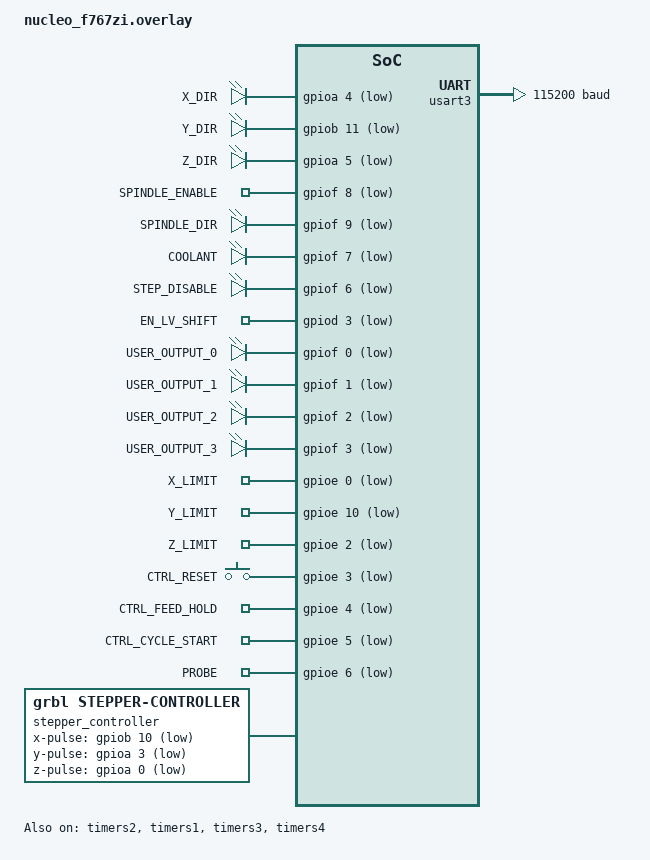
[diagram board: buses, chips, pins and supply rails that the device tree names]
/ {
    aliases {
        x-dir = &x_dir_node;
        y-dir = &y_dir_node;
        z-dir = &z_dir_node;

        spindle-enable = &spindle_enable;
        spindle-dir = &spindle_dir;
        coolant = &coolant;
        step-disable = &step_disable;
        en-lv-shift = &en_lv_shift;

        user-out-0 = &user_out_0;
        user-out-1 = &user_out_1;
        user-out-2 = &user_out_2;
        user-out-3 = &user_out_3;

        x-limit = &x_limit;
        y-limit = &y_limit;
        z-limit = &z_limit;

        ctrl-reset = &ctrl_reset;
        ctrl-feed-hold = &ctrl_feed_hold;
        ctrl-cycle-start = &ctrl_cycle_start;
        probe = &probe;

        encoder-x = &qdec0;
        encoder-y = &qdec1;
        encoder-z = &qdec2;
    };

    chosen {
        zephyr,code-partition = &slot0_partition;
        zephyr,settings-partition = &storage_partition;
    };

    outputs {
        compatible = "gpio-leds";

        x_dir_node: x_dir_node {
            gpios = <&gpioa 4 (GPIO_ACTIVE_LOW | GPIO_OPEN_DRAIN)>;
            label = "X_DIR";
        };
        y_dir_node: y_dir_node {
            gpios = <&gpiob 11 (GPIO_ACTIVE_LOW | GPIO_OPEN_DRAIN)>;
            label = "Y_DIR";
        };
        z_dir_node: z_dir_node {
            gpios = <&gpioa 5 (GPIO_ACTIVE_LOW | GPIO_OPEN_DRAIN)>;
            label = "Z_DIR";
        };

        spindle_enable: spindle_enable {
            gpios = <&gpiof 8 (GPIO_ACTIVE_LOW | GPIO_OPEN_DRAIN)>;
            label = "SPINDLE_ENABLE";
        };
        spindle_dir: spindle_dir {
            gpios = <&gpiof 9 (GPIO_ACTIVE_LOW | GPIO_OPEN_DRAIN)>;
            label = "SPINDLE_DIR";
        };
        coolant: coolant {
            gpios = <&gpiof 7 (GPIO_ACTIVE_LOW | GPIO_OPEN_DRAIN)>;
            label = "COOLANT";
        };
        step_disable: step_disable {
            gpios = <&gpiof 6 (GPIO_ACTIVE_LOW | GPIO_OPEN_DRAIN)>;
            label = "STEP_DISABLE";
        };
        en_lv_shift: en_lv_shift {
            gpios = <&gpiod 3 GPIO_ACTIVE_LOW>;
            label = "EN_LV_SHIFT";
        };
        user_out_0: user_out_0 {
            gpios = <&gpiof 0 (GPIO_ACTIVE_LOW | GPIO_OPEN_DRAIN)>;
            label = "USER_OUTPUT_0";
        };
        user_out_1: user_out_1 {
            gpios = <&gpiof 1 (GPIO_ACTIVE_LOW | GPIO_OPEN_DRAIN)>;
            label = "USER_OUTPUT_1";
        };
        user_out_2: user_out_2 {
            gpios = <&gpiof 2 (GPIO_ACTIVE_LOW | GPIO_OPEN_DRAIN)>;
            label = "USER_OUTPUT_2";
        };
        user_out_3: user_out_3 {
            gpios = <&gpiof 3 (GPIO_ACTIVE_LOW | GPIO_OPEN_DRAIN)>;
            label = "USER_OUTPUT_3";
        };
    };

    inputs {
        compatible = "gpio-keys";

        x_limit: x_limit {
            gpios = <&gpioe 0 (GPIO_PULL_UP | GPIO_ACTIVE_LOW)>;
            label = "X_LIMIT";
        };
        y_limit: y_limit {
            gpios = <&gpioe 10 (GPIO_PULL_UP | GPIO_ACTIVE_LOW)>;
            label = "Y_LIMIT";
        };
        z_limit: z_limit {
            gpios = <&gpioe 2 (GPIO_PULL_UP | GPIO_ACTIVE_LOW)>;
            label = "Z_LIMIT";
        };
        ctrl_reset: ctrl_reset {
            gpios = <&gpioe 3 (GPIO_PULL_UP | GPIO_ACTIVE_LOW)>;
            label = "CTRL_RESET";
        };
        ctrl_feed_hold: ctrl_feed_hold {
            gpios = <&gpioe 4 (GPIO_PULL_UP | GPIO_ACTIVE_LOW)>;
            label = "CTRL_FEED_HOLD";
        };
        ctrl_cycle_start: ctrl_cycle_start {
            gpios = <&gpioe 5 (GPIO_PULL_UP | GPIO_ACTIVE_LOW)>;
            label = "CTRL_CYCLE_START";
        };
        probe: probe {
            gpios = <&gpioe 6 (GPIO_PULL_UP | GPIO_ACTIVE_LOW)>;
            label = "PROBE";
        };
    };
};

&usart3 {
    status = "okay";
    current-speed = <115200>;
};

&flash0 {
    partitions {
        compatible = "fixed-partitions";
        #address-cells = <1>;
        #size-cells = <1>;
        /delete-node/ partition@10000;
        /delete-node/ partition@20000;
        /delete-node/ partition@40000;
        
        slot0_partition: partition@c000 {
            label = "image-0";
            reg = <0x00000000 0x00100000>;
        };

        /*
         * The flash starting at 0x000f8000 and ending at
         * 0x000fffff is reserved for use by the application.
         */

        /*
         * Storage partition will be used by FCB/LittleFS/NVS
         * if enabled.
         */
        storage_partition: partition@100000 {
            label = "storage";
            reg = <0x000100000 0x00010000>;
        };
    };
};

&timers2 {
    status = "okay";
};

&adc1 {
    status = "disabled";
};

/ {
    stepper_controller: stepper_controller {
        compatible = "grbl,stepper-controller";
        status = "okay";

        timer = <&timers2>;

        x-pulse-gpios = <&gpiob 10 (GPIO_ACTIVE_LOW | GPIO_OPEN_DRAIN)>;
        y-pulse-gpios = <&gpioa 3 (GPIO_ACTIVE_LOW | GPIO_OPEN_DRAIN)>;
        z-pulse-gpios = <&gpioa 0 (GPIO_ACTIVE_LOW | GPIO_OPEN_DRAIN)>;

    };
};

&timers1 {
    status = "okay";
    st,prescaler = <0>;
    qdec0: qdec {
        compatible = "st,stm32-qdec";
        status = "okay";
        pinctrl-0 =  <&tim1_ch1_pe9 &tim1_ch2_pe11>;
        pinctrl-names = "default";
        st,input-filter-level = <14>;
        st,counts-per-revolution = <2000>;
        st,encoder-mode = <3>;
    };
};

&timers3 {
    status = "okay";
    st,prescaler = <0>;

    qdec1: qdec {
    compatible = "st,stm32-qdec";
    status = "okay";
    pinctrl-0 = <&tim3_ch1_pa6 &tim3_ch2_pc7>;
    pinctrl-names = "default";
    st,input-filter-level = <0>;
    st,counts-per-revolution = <2000>;
    st,encoder-mode = <3>;
    };
};

&timers4 {
    status = "okay";
    st,prescaler = <0>;

    qdec2: qdec {
    compatible = "st,stm32-qdec";
    status = "okay";
    pinctrl-0 = <&tim4_ch1_pd12 &tim4_ch2_pd13>;
    pinctrl-names = "default";
    st,input-filter-level = <0>;
    st,counts-per-revolution = <2000>;
    st,encoder-mode = <3>;
    };
};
